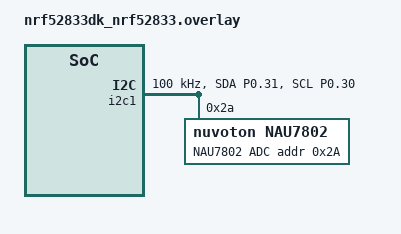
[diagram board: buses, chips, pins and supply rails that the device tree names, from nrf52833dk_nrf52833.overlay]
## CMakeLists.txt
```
# SPDX-License-Identifier: Apache-2.0

cmake_minimum_required(VERSION 3.20.0)
find_package(Zephyr REQUIRED HINTS $ENV{ZEPHYR_BASE})
project(nau7802_driver)

include_directories("../boards/nrf52833dk/BSP"
                    "../lib/Drivers"
                    "../lib/nau7802")

add_compile_definitions(DEBUG)

FILE(GLOB app_sources src/*.c)
target_sources(app PRIVATE ${app_sources}
                ../boards/nrf52833dk/BSP/nrf52833dk_bsp.c
                ../lib/nau7802/nau7802.c)
```

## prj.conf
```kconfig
#GPIO
CONFIG_GPIO=y

#RTT console
CONFIG_LOG=y
CONFIG_UART_CONSOLE=n
CONFIG_RTT_CONSOLE=y
CONFIG_USE_SEGGER_RTT=y
CONFIG_PRINTK=y

#I2C
CONFIG_I2C=y
CONFIG_I2C_NRFX=y
CONFIG_NRFX_TWI1=y
```

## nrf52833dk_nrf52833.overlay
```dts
// To get started, press Ctrl+Space to bring up the completion menu and view the available nodes.

// You can also use the buttons in the sidebar to perform actions on nodes.
// Actions currently available include:

// * Enabling / disabling the node
// * Adding the bus to a bus
// * Removing the node
// * Connecting ADC channels

// For more help, browse the DeviceTree documentation at https://docs.zephyrproject.org/latest/guides/dts/index.html
// You can also visit the nRF DeviceTree extension documentation at https://nrfconnect.github.io/vscode-nrf-connect/devicetree/nrfdevicetree.html
/ {
	arduino_header: connector {
		status = "disabled";
	};
};

&pinctrl {
	i2c1_nau7802: i2c1_nau7802 {
		group1 {
			psels = <NRF_PSEL(TWIM_SDA, 0, 31)>,
				<NRF_PSEL(TWIM_SCL, 0, 30)>;
			nordic,drive-mode = < NRF_DRIVE_S0D1 >;	
		};
	};  
    i2c1_sleep: i2c1_sleep {
		group1 {
			psels = <NRF_PSEL(TWIM_SDA, 0, 31)>,
				<NRF_PSEL(TWIM_SCL, 0, 30)>;
			low-power-enable;
		};
	};  
};

&i2c0 {
    status = "disabled";
};

&i2c1 {
    status = "okay";
    compatible = "nordic,nrf-twi";
    clock-frequency = <I2C_BITRATE_STANDARD>;
    pinctrl-0 = <&i2c1_nau7802>;
	
    nau7802:nau7802@2A {
		compatible = "nuvoton,nau7802";
        label = "NAU7802 ADC addr 0x2A";
        reg = < 0x2a >;
    };
};
```

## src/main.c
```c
/*
 * Copyright (c) 2022 Mauro Medina Serangeli
 *
 * SPDX-License-Identifier: Apache-2.0
 */
#include <stdint.h>

#include <errno.h>
#include <zephyr.h>
#include <sys/printk.h>
#include <device.h>
#include <drivers/i2c.h>
#include <drivers/gpio.h>
#include <sys/util.h>
#include <sys/printk.h>
#include <zephyr/logging/log.h>

#include "nrf52833dk_bsp.h"
#include "nau7802.h"	

#define LOG_LEVEL LOG_LEVEL_DBG

LOG_MODULE_REGISTER(main);

/**
 * @file Sample app using the Fujitsu MB85RC256V FRAM through I2C.
 */

#define NAU7802_I2C_ADDR	0x2A

static volatile bool btn_flg = false;
static int nau7802_read_id(const struct device *dev);

const struct device *nau7802;

/* Button interrupt callbacks. */
void button0_pressed(const struct device *dev, struct gpio_callback *cb,
		    			uint32_t pins)
{
	bsp_led0_toggle();
}

void button1_pressed(const struct device *dev, struct gpio_callback *cb,
		    			uint32_t pins)
{
	bsp_led1_toggle();
}

void button3_pressed(const struct device *dev, struct gpio_callback *cb,
		    			uint32_t pins)
{
	NVIC_SystemReset();
}

void button2_pressed(const struct device *dev, struct gpio_callback *cb,
		    			uint32_t pins)
{
	btn_flg = true;
}

static int nau7802_read_id(const struct device *dev)
{
	uint8_t data = 0;
	uint8_t reg_addr = 0x1F;
	int32_t ret = 0;

	//Read CHIP-ID
	ret = nau7802_getRegister(nau7802, reg_addr, &data);
	if (ret) {
		printk("Error reading from NAU7802! error code (%d)\n", ret);
		return ret;
	} else {
		printk("Read 0x%X from address 0x%X.\n", data, reg_addr);
	}
	return ret;
} 

void main(void)
{
	int i, ret;
	int32_t data;

	bsp_init(button0_pressed, button1_pressed, button2_pressed, button3_pressed);

	nau7802 = device_get_binding(DT_LABEL(DT_INST(0, nuvoton_nau7802)));

	// nau7802_powerUp();

	// do
	// {
	// 	ret = nau7802_read_id();

	// 	while(!btn_flg) k_msleep(100);

	// 	btn_flg = false;
	// 	// k_msleep(500);
	// } while (true);

	ret = nau7802_begin(nau7802);

	while (true)
	{
		while(nau7802_data_available(nau7802) == 0);

		ret = nau7802_getReading(nau7802, &data);

		if(ret == 0)
		{
			printk("ADC value: %d.\n", data);
		}else
		{
			printk("ADC error: %d.\n", ret);
		}
		
		k_msleep(500);
	}
	(void) i;
}
```
